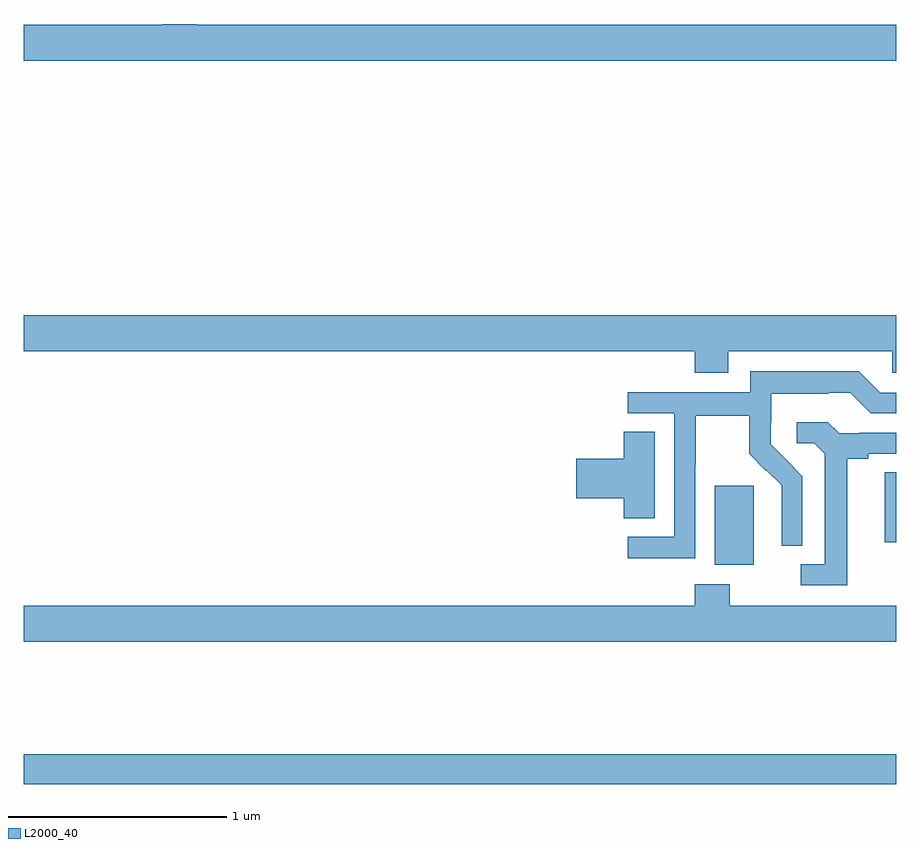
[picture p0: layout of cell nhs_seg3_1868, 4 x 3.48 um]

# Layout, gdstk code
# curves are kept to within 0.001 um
import gdstk
lib = gdstk.Library(unit=1e-6, precision=1e-09)
def R(c, l, rs):  # rectangles x0, y0, x1, y1
    for r in rs: c.add(gdstk.rectangle(r[:2], r[2:], *l))
def P(c, l, *ps):  # polygons
    for p in ps: c.add(gdstk.Polygon(p, *l))
L2000_40 = (2000, 40)

nhs_seg3_1868 = lib.new_cell('nhs_seg3_1868')
R(nhs_seg3_1868, L2000_40, [(207,714.916,211,715.052), (210.167,715.922,210.346,716.283), (210.947,716.025,211,716.345)])
P(nhs_seg3_1868, L2000_40, [(211,718.396),(207.794,718.396),(207.794,718.4),(207.634,718.4),(207.634,718.396),(207,718.396),(207,718.232),(211,718.232)],
  [(210.229,716.9),(210.981,716.9),(210.981,716.802),(211,716.802),(211,717.064),(207,717.064),(207,716.9),(210.077,716.9),(210.077,716.801),(210.229,716.801)],
  [(210.078,716.38),(210.081,716.38),(210.081,716.604),(210.325,716.604),(210.325,716.429),(210.402,716.352),(210.405,716.355),(210.476,716.285),(210.476,716.162),(210.474,716.162),(210.474,716.008),(210.57,716.008),(210.57,716.326),(210.424,716.474),(210.424,716.571),(210.426,716.571),(210.426,716.705),(210.689,716.705),(210.689,716.709),(210.789,716.709),(210.882,716.616),(211,716.616),(211,716.709),(210.927,716.709),(210.827,716.809),(210.33,716.809),(210.33,716.712),(209.769,716.712),(209.769,716.616),(209.982,716.616),(209.982,716.049),(209.769,716.049),(209.769,715.951),(210.078,715.951)],
  [(210.775,716.408),(210.871,716.408),(210.871,716.43),(211,716.43),(211,716.526),(210.832,716.526),(210.832,716.523),(210.738,716.523),(210.686,716.575),(210.543,716.575),(210.543,716.478),(210.624,716.478),(210.671,716.431),(210.671,715.923),(210.561,715.923),(210.561,715.827),(210.775,715.827)],
  [(209.893,716.531),(209.75,716.531),(209.75,716.408),(209.532,716.408),(209.532,716.225),(209.75,716.225),(209.75,716.134),(209.893,716.134)],
  [(211,715.732),(210.237,715.732),(210.237,715.831),(210.077,715.831),(210.077,715.732),(207,715.732),(207,715.568),(211,715.568)])

lib.write_gds('nhs_seg3_1868.gds')
